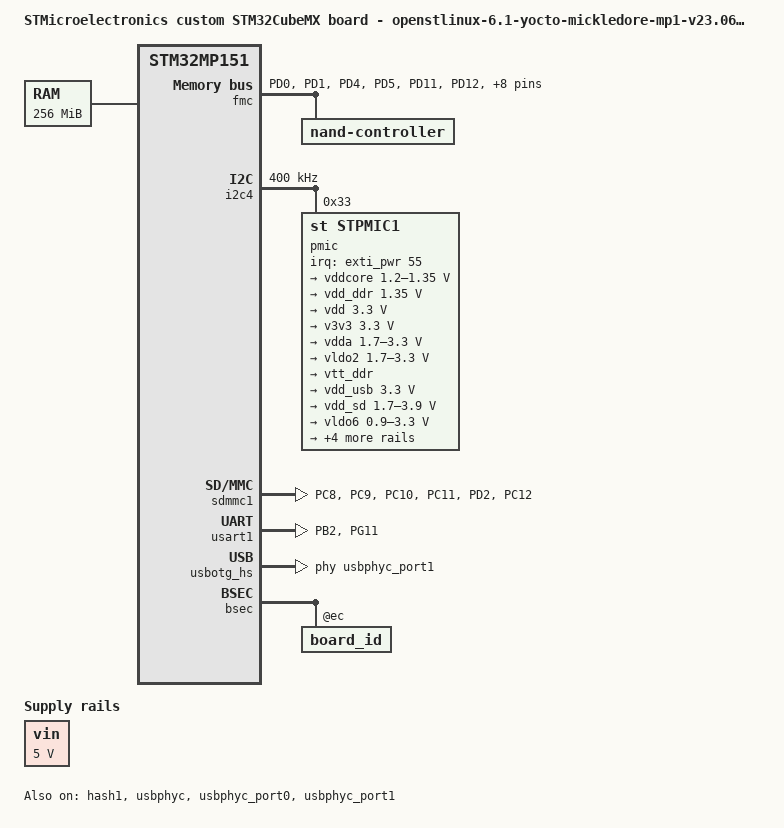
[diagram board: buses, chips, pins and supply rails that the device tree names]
// SPDX-License-Identifier: (GPL-2.0-or-later OR BSD-3-Clause)
/*
 * Copyright (C) 2024, STMicroelectronics - All Rights Reserved
 * Author: STM32CubeMX code generation for STMicroelectronics.
 */

/* For more information on Device Tree configuration, please refer to
 * https://wiki.st.com/stm32mpu/wiki/Category:Device_tree_configuration
 */

 /dts-v1/;
 #include <dt-bindings/pinctrl/stm32-pinfunc.h>
 #include <dt-bindings/clock/stm32mp1-clksrc.h>
 #include "mcu-mx.dtsi"
 
 #include "stm32mp151.dtsi"
 #include "stm32mp15xa.dtsi"
 #include "stm32mp15-pinctrl.dtsi"
 #include "stm32mp15xxac-pinctrl.dtsi"
 #include "stm32mp15-ddr.dtsi"
 
 /* USER CODE BEGIN includes */
 /* USER CODE END includes */
 
 / {
     model = "STMicroelectronics custom STM32CubeMX board - openstlinux-6.1-yocto-mickledore-mp1-v23.06.21";
     compatible = "st,stm32mp151a-mcu-xx-mx", "st,stm32mp151";
 
     memory@c0000000 {
         device_type = "memory";
         reg = <0xc0000000 0x10000000>;
 
         /* USER CODE BEGIN memory */
         /* USER CODE END memory */
     };
 
     /* USER CODE BEGIN root */
     aliases {
         serial0 = &usart1;
     };
 
     chosen {
         stdout-path = "serial0:115200n8";
     };
 
     vin: vin {
         compatible = "regulator-fixed";
         regulator-name = "vin";
         regulator-min-microvolt = <5000000>;
         regulator-max-microvolt = <5000000>;
         regulator-always-on;
     };
     /* USER CODE END root */
 
     clocks {
         /* USER CODE BEGIN clocks */
         /* USER CODE END clocks */
 
         clk_hsi: clk-hsi {
             clock-frequency = <64000000>;
 
             /* USER CODE BEGIN clk_hsi */
             /* USER CODE END clk_hsi */
         };
         clk_lse: clk-lse {
             clock-frequency = <32768>;
             st,drive = < LSEDRV_MEDIUM_HIGH >;
 
             /* USER CODE BEGIN clk_lse */
             /* USER CODE END clk_lse */
         };
         clk_hse: clk-hse {
             clock-frequency = <24000000>;
             st,digbypass;
 
             /* USER CODE BEGIN clk_hse */
             /* USER CODE END clk_hse */
         };
     };
 
 }; /*root*/
 
 &pinctrl {
     fmc_pins_mx: fmc_mx-0 {
         pins1 {
             pinmux = <STM32_PINMUX('D', 0, AF12)>, /* FMC_D2 */
                      <STM32_PINMUX('D', 1, AF12)>, /* FMC_D3 */
                      <STM32_PINMUX('D', 4, AF12)>, /* FMC_NOE */
                      <STM32_PINMUX('D', 5, AF12)>, /* FMC_NWE */
                      <STM32_PINMUX('D', 11, AF12)>, /* FMC_CLE */
                      <STM32_PINMUX('D', 12, AF12)>, /* FMC_ALE */
                      <STM32_PINMUX('D', 14, AF12)>, /* FMC_D0 */
                      <STM32_PINMUX('D', 15, AF12)>, /* FMC_D1 */
                      <STM32_PINMUX('E', 7, AF12)>, /* FMC_D4 */
                      <STM32_PINMUX('E', 8, AF12)>, /* FMC_D5 */
                      <STM32_PINMUX('E', 9, AF12)>, /* FMC_D6 */
                      <STM32_PINMUX('E', 10, AF12)>, /* FMC_D7 */
                      <STM32_PINMUX('G', 9, AF12)>; /* FMC_NCE */
             bias-disable;
             drive-push-pull;
             slew-rate = <1>;
         };
         pins2 {
             pinmux = <STM32_PINMUX('D', 6, AF12)>; /* FMC_NWAIT */
             bias-pull-up;
         };
     };
 
     sdmmc1_pins_mx: sdmmc1_mx-0 {
         pins1 {
             pinmux = <STM32_PINMUX('C', 8, AF12)>, /* SDMMC1_D0 */
                      <STM32_PINMUX('C', 9, AF12)>, /* SDMMC1_D1 */
                      <STM32_PINMUX('C', 10, AF12)>, /* SDMMC1_D2 */
                      <STM32_PINMUX('C', 11, AF12)>, /* SDMMC1_D3 */
                      <STM32_PINMUX('D', 2, AF12)>; /* SDMMC1_CMD */
             bias-pull-up;
             drive-push-pull;
             slew-rate = <1>;
         };
         pins2 {
             pinmux = <STM32_PINMUX('C', 12, AF12)>; /* SDMMC1_CK */
             bias-disable;
             drive-push-pull;
             slew-rate = <3>;
         };
     };
 
     usart1_pins_mx: usart1_mx-0 {
         pins1 {
             pinmux = <STM32_PINMUX('B', 2, AF4)>; /* USART1_RX */
             bias-disable;
         };
         pins2 {
             pinmux = <STM32_PINMUX('G', 11, AF4)>; /* USART1_TX */
             bias-disable;
             drive-push-pull;
             slew-rate = <0>;
         };
     };
 
     /* USER CODE BEGIN pinctrl */
     /* USER CODE END pinctrl */
 };
 
 &pinctrl_z {
     i2c4_pins_z_mx: i2c4_mx-0 {
         pins {
             pinmux = <STM32_PINMUX('Z', 4, AF6)>, /* I2C4_SCL */
                      <STM32_PINMUX('Z', 5, AF6)>; /* I2C4_SDA */
             bias-disable;
             drive-open-drain;
             slew-rate = <0>;
         };
     };
 
     /* USER CODE BEGIN pinctrl_z */
     /* USER CODE END pinctrl_z */
 };
 
 &fmc{
     pinctrl-names = "default";
     pinctrl-0 = <&fmc_pins_mx>;
     status = "okay";
 
     /* USER CODE BEGIN fmc */
     nand-controller@4,0 {
         status = "okay";
 
         nand@0 {
             reg = <0>;
             nand-on-flash-bbt;
             nand-ecc-strength = <4>;
             nand-ecc-step-size = <512>;
             #address-cells = <1>;
             #size-cells = <1>;
         };
     };
     /* USER CODE END fmc */
 };
 
 &hash1{
     status = "okay";
 
     /* USER CODE BEGIN hash1 */
     /* USER CODE END hash1 */
 };
 
 &i2c4{
     pinctrl-names = "default";
     pinctrl-0 = <&i2c4_pins_z_mx>;
     status = "okay";
 
     /* USER CODE BEGIN i2c4 */
     i2c-scl-rising-time-ns = <185>;
     i2c-scl-falling-time-ns = <20>;
     clock-frequency = <400000>;
 
     pmic: stpmic@33 {
         compatible = "st,stpmic1";
         reg = <0x33>;
         interrupts-extended = <&exti_pwr 55 IRQ_TYPE_EDGE_FALLING>;
         interrupt-controller;
         #interrupt-cells = <2>;
         status = "okay";
 
         regulators {
             compatible = "st,stpmic1-regulators";
             buck1-supply = <&vin>;
             buck2-supply = <&vin>;
             buck3-supply = <&vin>;
             buck4-supply = <&vin>;
             ldo1-supply = <&v3v3>;
             ldo2-supply = <&vin>;
             ldo3-supply = <&vdd_ddr>;
             ldo4-supply = <&vin>;
             ldo5-supply = <&vin>;
             ldo6-supply = <&v3v3>;
             vref_ddr-supply = <&vin>;
             boost-supply = <&vin>;
             pwr_sw1-supply = <&bst_out>;
             pwr_sw2-supply = <&bst_out>;
 
             vddcore: buck1 {
                 regulator-name = "vddcore"; //to cpu
                 regulator-min-microvolt = <1200000>;
                 regulator-max-microvolt = <1350000>;
                 regulator-always-on;
                 regulator-initial-mode = <0>;
                 regulator-over-current-protection;
             };
 
             vdd_ddr: buck2 {
                 regulator-name = "vdd_ddr";//to ddr
                 regulator-min-microvolt = <1350000>;
                 regulator-max-microvolt = <1350000>;
                 regulator-always-on;
                 regulator-initial-mode = <0>;
                 regulator-over-current-protection;
             };
 
             vdd: buck3 {
                 regulator-name = "vdd";//to mmc
                 regulator-min-microvolt = <3300000>;
                 regulator-max-microvolt = <3300000>;
                 regulator-always-on;
                 st,mask-reset;
                 regulator-initial-mode = <0>;
                 regulator-over-current-protection;
             };
 
             v3v3: buck4 {
                 regulator-name = "v3v3";//to mmc
                 regulator-min-microvolt = <3300000>;
                 regulator-max-microvolt = <3300000>;
                 regulator-always-on;
                 regulator-over-current-protection;
                 regulator-initial-mode = <0>;
             };
 
             vdda: ldo1 {
                 regulator-name = "vdda";//to verf
                 regulator-min-microvolt = <1700000>;
                 regulator-max-microvolt = <3300000>;
                 regulator-always-on;
             };
 
             vldo2: ldo2 {
                 regulator-name = "vldo2";
                 regulator-min-microvolt = <1700000>;
                 regulator-max-microvolt = <3300000>;
                 regulator-always-on;
             };
 
             vtt_ddr: ldo3 {
                 regulator-name = "vtt_ddr";
                 regulator-always-on;
                 regulator-over-current-protection;
                 st,regulator-sink-source;
             };
 
             vdd_usb: ldo4 {
                 regulator-name = "vdd_usb";//to usb
                 regulator-min-microvolt = <3300000>;
                 regulator-max-microvolt = <3300000>;
                 regulator-always-on;
             };
 
             vdd_sd: ldo5 {
                 regulator-name = "vdd_sd";
                 regulator-min-microvolt = <1700000>;
                 regulator-max-microvolt = <3900000>;
                 regulator-boot-on;
             };
             
             vldo6: ldo6 {
                 regulator-name = "vldo6";
                 regulator-min-microvolt = <900000>;
                 regulator-max-microvolt = <3300000>;
                 regulator-always-on;
             };
 
             vref_ddr: vref_ddr {
                 regulator-name = "vref_ddr";
                 regulator-always-on;
             };
 
             bst_out: boost {
                 regulator-name = "bst_out";
             };
 
             vbus_otg: pwr_sw1 {
                 regulator-name = "vbus_otg";
             };
 
             vbus_sw: pwr_sw2 {
                 regulator-name = "vbus_sw";
                 regulator-active-discharge = <1>;
             };
         };
     };
     /* USER CODE END i2c4 */
 };
 
//  &iwdg1{
//      status = "okay";
 
//      /* USER CODE BEGIN iwdg2 */
//      timeout-sec = <32>;
//     //  secure-timeout-sec = <5>;
//      /* USER CODE END iwdg2 */
//  };
 
 &rcc{
     status = "okay";
 
     /* USER CODE BEGIN rcc */
     compatible = "st,stm32mp1-rcc-secure", "st,stm32mp1-rcc", "syscon";
     /* USER CODE END rcc */
 
     st,clksrc = <
         CLK_CKPER_HSE
         CLK_FMC_ACLK
         CLK_SDMMC12_PLL4P
         CLK_STGEN_HSE
         CLK_I2C46_HSI
         CLK_USBO_USBPHY
         CLK_UART1_HSI
         CLK_MPU_PLL1P
         CLK_AXI_PLL2P
         CLK_MCU_PLL3P
     >;
     st,clkdiv = <
         DIV(DIV_MPU, 1)
         DIV(DIV_AXI, 0)
         DIV(DIV_MCU, 0)
         DIV(DIV_APB1, 1)
         DIV(DIV_APB2, 1)
         DIV(DIV_APB3, 1)
         DIV(DIV_APB4, 1)
         DIV(DIV_APB5, 2)
         DIV(DIV_RTC, 23)
         DIV(DIV_MCO1, 0)
         DIV(DIV_MCO2, 0)
     >;
     st,pll_vco {
         pll2_vco_1066Mhz: pll2-vco-1066Mhz {
             src = < CLK_PLL12_HSE >;
             divmn = < 2 65 >;
             frac = < 0x1400 >;
         };
         pll3_vco_417Mhz: pll3-vco-417Mhz {
             src = < CLK_PLL3_HSE >;
             divmn = < 1 33 >;
             frac = < 0x1a04 >;
         };
         pll4_vco_594Mhz: pll4-vco-594Mhz {
             src = < CLK_PLL4_HSE >;
             divmn = < 3 98 >;
         };
         /* USER CODE BEGIN rcc_st-pll_vco */
         /* USER CODE END rcc_st-pll_vco */
     };
 
     pll2:st,pll@1 {
         compatible = "st,stm32mp1-pll";
         reg = <1>;
 
         st,pll = < &pll2_cfg1 >;
 
         pll2_cfg1: pll2_cfg1 {
             st,pll_vco = < &pll2_vco_1066Mhz >;
             st,pll_div_pqr = < 1 1 0 >;
         };
         /* USER CODE BEGIN pll2 */
         /* USER CODE END pll2 */
     };
 
     pll3:st,pll@2 {
         compatible = "st,stm32mp1-pll";
         reg = <2>;
 
         st,pll = < &pll3_cfg1 >;
 
         pll3_cfg1: pll3_cfg1 {
             st,pll_vco = < &pll3_vco_417Mhz >;
             st,pll_div_pqr = < 1 16 36 >;
         };
         /* USER CODE BEGIN pll3 */
         /* USER CODE END pll3 */
     };
 
     pll4:st,pll@3 {
         compatible = "st,stm32mp1-pll";
         reg = <3>;
 
         st,pll = < &pll4_cfg1 >;
 
         pll4_cfg1: pll4_cfg1 {
             st,pll_vco = < &pll4_vco_594Mhz >;
             st,pll_div_pqr = < 5 7 7 >;
         };
         /* USER CODE BEGIN pll4 */
         /* USER CODE END pll4 */
     };
 
 };
 
 &sdmmc1{
     pinctrl-names = "default";
     pinctrl-0 = <&sdmmc1_pins_mx>;
     status = "okay";
 
     /* USER CODE BEGIN sdmmc1 */
     /* USER CODE END sdmmc1 */
 };
 
 &usart1{
     pinctrl-names = "default";
     pinctrl-0 = <&usart1_pins_mx>;
     status = "okay";
 
     /* USER CODE BEGIN usart1 */
     /* USER CODE END usart1 */
 };
 
 &usbotg_hs{
     status = "okay";
 
     /* USER CODE BEGIN usbotg_hs */
     phys = <&usbphyc_port1 0>;
     phy-names = "usb2-phy";
     usb-role-switch;
     /* USER CODE END usbotg_hs */
 };
 
 &usbphyc{
     status = "okay";
 
     /* USER CODE BEGIN usbphyc */
     /* USER CODE END usbphyc */
 };
 
 &usbphyc_port0{
     status = "okay";
 
     /* USER CODE BEGIN usbphyc_port0 */
     phy-supply = <&vdd_usb>;
     /* USER CODE END usbphyc_port0 */
 };
 
 &usbphyc_port1{
     status = "okay";
 
     /* USER CODE BEGIN usbphyc_port1 */
     phy-supply = <&vdd_usb>;
     /* USER CODE END usbphyc_port1 */
 };
 
 /* USER CODE BEGIN addons */
 &bsec {
     board_id: board_id@ec {
         reg = <0xec 0x4>;
         st,non-secure-otp;
     };
 };
 
 &cpu0 {
     cpu-supply = <&vddcore>;
 };
 
 &pwr_regulators {
     vdd-supply = <&vdd>;
     vdd_3v3_usbfs-supply = <&vdd_usb>;
 };
 /* USER CODE END addons */
 
 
